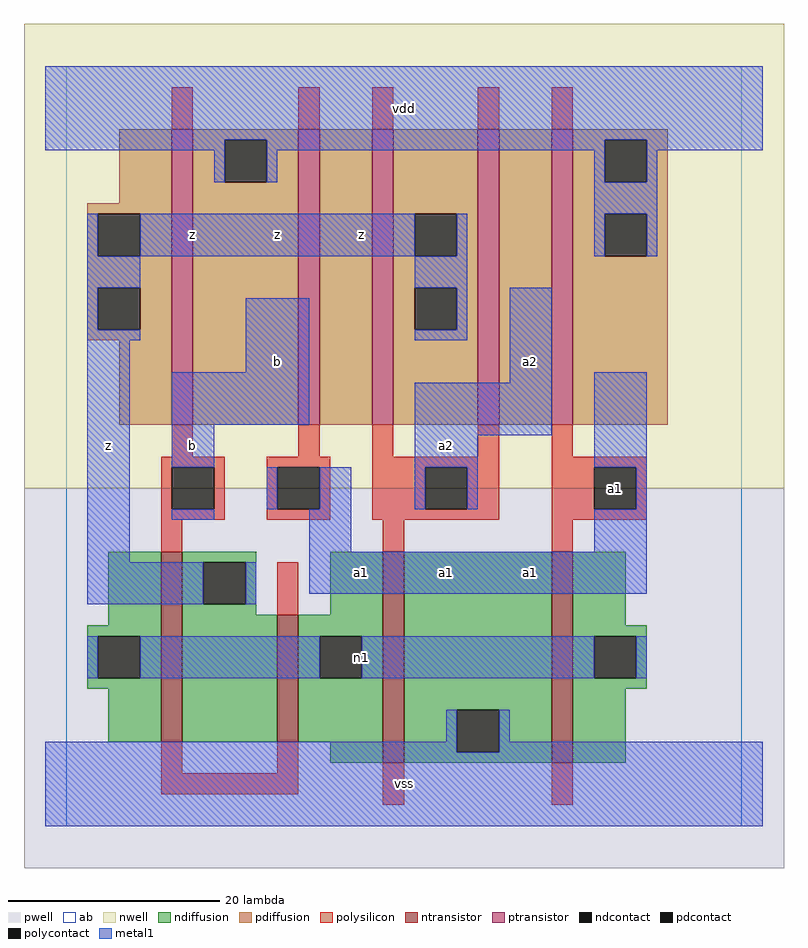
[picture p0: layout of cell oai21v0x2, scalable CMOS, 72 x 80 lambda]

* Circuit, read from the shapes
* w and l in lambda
.subckt oai21v0x2 a1 a2 b n1 vdd vss z
M1 z b n1 VSUBS nfet w=18 l=2
M2 n1 b z VSUBS nfet w=12 l=2
M3 vss a2 n1 VSUBS nfet w=20 l=2
M4 n1 a1 vss VSUBS nfet w=20 l=2
M5 vdd b z n2 pfet w=28 l=2
M6 n3 a1 vdd n2 pfet w=28 l=2
M7 z a2 n3 n2 pfet w=28 l=2
M8 n4 a2 z n2 pfet w=28 l=2
M9 vdd a1 n4 n2 pfet w=28 l=2
.ends

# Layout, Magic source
magic
tech scmos
<< ab >>
rect 0 0 64 72
<< pwell >>
rect -4 -4 68 32
<< nwell >>
rect -4 32 68 76
<< polysilicon >>
rect 10 66 12 70
rect 22 66 24 70
rect 29 66 31 70
rect 39 66 41 70
rect 46 66 48 70
rect 10 35 12 38
rect 22 35 24 38
rect 29 35 31 38
rect 39 35 41 38
rect 9 34 15 35
rect 9 30 10 34
rect 14 30 15 34
rect 9 29 15 30
rect 19 34 25 35
rect 19 30 20 34
rect 24 30 25 34
rect 19 29 25 30
rect 29 34 41 35
rect 29 30 34 34
rect 38 30 41 34
rect 29 29 41 30
rect 46 35 48 38
rect 46 34 55 35
rect 46 30 50 34
rect 54 30 55 34
rect 46 29 55 30
rect 9 26 11 29
rect 30 26 32 29
rect 46 26 48 29
rect 20 20 22 25
rect 9 5 11 8
rect 20 5 22 8
rect 9 3 22 5
rect 30 2 32 6
rect 46 2 48 6
<< ndiffusion >>
rect 4 19 9 26
rect 2 18 9 19
rect 2 14 3 18
rect 7 14 9 18
rect 2 13 9 14
rect 4 8 9 13
rect 11 25 18 26
rect 11 21 13 25
rect 17 21 18 25
rect 11 20 18 21
rect 25 20 30 26
rect 11 8 20 20
rect 22 18 30 20
rect 22 14 24 18
rect 28 14 30 18
rect 22 8 30 14
rect 25 6 30 8
rect 32 11 46 26
rect 32 7 37 11
rect 41 7 46 11
rect 32 6 46 7
rect 48 19 53 26
rect 48 18 55 19
rect 48 14 50 18
rect 54 14 55 18
rect 48 13 55 14
rect 48 6 53 13
<< pdiffusion >>
rect 5 59 10 66
rect 2 58 10 59
rect 2 54 3 58
rect 7 54 10 58
rect 2 51 10 54
rect 2 47 3 51
rect 7 47 10 51
rect 2 46 10 47
rect 5 38 10 46
rect 12 65 22 66
rect 12 61 15 65
rect 19 61 22 65
rect 12 38 22 61
rect 24 38 29 66
rect 31 58 39 66
rect 31 54 33 58
rect 37 54 39 58
rect 31 51 39 54
rect 31 47 33 51
rect 37 47 39 51
rect 31 38 39 47
rect 41 38 46 66
rect 48 65 57 66
rect 48 61 51 65
rect 55 61 57 65
rect 48 58 57 61
rect 48 54 51 58
rect 55 54 57 58
rect 48 38 57 54
<< metal1 >>
rect -2 65 66 72
rect -2 64 15 65
rect 14 61 15 64
rect 19 64 51 65
rect 19 61 20 64
rect 50 61 51 64
rect 55 64 66 65
rect 55 61 56 64
rect 50 58 56 61
rect 2 54 3 58
rect 7 54 33 58
rect 37 54 38 58
rect 50 54 51 58
rect 55 54 56 58
rect 2 51 7 54
rect 2 47 3 51
rect 33 51 38 54
rect 2 46 7 47
rect 2 25 6 46
rect 17 43 23 50
rect 37 47 38 51
rect 33 46 38 47
rect 10 38 23 43
rect 42 42 46 51
rect 10 34 14 38
rect 33 37 46 42
rect 33 34 39 37
rect 19 30 20 34
rect 24 30 27 34
rect 33 30 34 34
rect 38 30 39 34
rect 50 34 55 43
rect 54 30 55 34
rect 10 29 14 30
rect 23 26 27 30
rect 50 26 55 30
rect 2 21 13 25
rect 17 21 18 25
rect 23 22 55 26
rect 2 14 3 18
rect 7 14 24 18
rect 28 14 50 18
rect 54 14 55 18
rect 36 8 37 11
rect -2 7 37 8
rect 41 8 42 11
rect 41 7 66 8
rect -2 0 66 7
<< ntransistor >>
rect 9 8 11 26
rect 20 8 22 20
rect 30 6 32 26
rect 46 6 48 26
<< ptransistor >>
rect 10 38 12 66
rect 22 38 24 66
rect 29 38 31 66
rect 39 38 41 66
rect 46 38 48 66
<< polycontact >>
rect 10 30 14 34
rect 20 30 24 34
rect 34 30 38 34
rect 50 30 54 34
<< ndcontact >>
rect 3 14 7 18
rect 13 21 17 25
rect 24 14 28 18
rect 37 7 41 11
rect 50 14 54 18
<< pdcontact >>
rect 3 54 7 58
rect 3 47 7 51
rect 15 61 19 65
rect 33 54 37 58
rect 33 47 37 51
rect 51 61 55 65
rect 51 54 55 58
<< labels >>
rlabel metal1 4 36 4 36 6 z
rlabel metal1 12 36 12 36 6 b
rlabel metal1 12 56 12 56 6 z
rlabel metal1 28 24 28 24 6 a1
rlabel metal1 20 44 20 44 6 b
rlabel metal1 20 56 20 56 6 z
rlabel metal1 28 56 28 56 6 z
rlabel metal1 32 4 32 4 6 vss
rlabel metal1 36 24 36 24 6 a1
rlabel metal1 44 24 44 24 6 a1
rlabel metal1 36 36 36 36 6 a2
rlabel metal1 44 44 44 44 6 a2
rlabel metal1 32 68 32 68 6 vdd
rlabel metal1 28 16 28 16 6 n1
rlabel polycontact 52 32 52 32 6 a1
<< end >>
